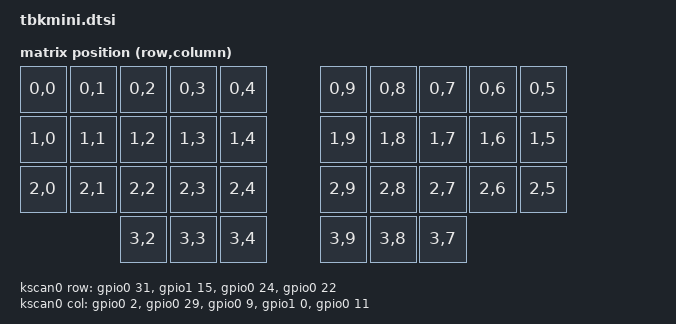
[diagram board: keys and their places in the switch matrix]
#include <dt-bindings/zmk/matrix_transform.h>

/ {
	chosen {
		zmk,kscan = &kscan0;
		zmk,matrix-transform = &default_transform;
	};

	/*
	 * Matrix wiring -- traced with a multimeter AND confirmed against the
	 * seller's source (Vzhao-L/zmk-for-charybdis, charybdis-Nano35-MOD).
	 * Both halves use the same V&Z adapter, so pins are identical.
	 *
	 *   Rows:    R1=P0.31  R2=P1.15  R3=P0.24  R4=P0.22
	 *   Columns: C1=P0.02  C2=P0.29  C3=P0.09  C4=P1.00  C5=P0.11
	 *
	 * diode-direction is row2col (confirmed from the seller's config; our
	 * original col2row guess was wrong). For row2col the rows are driven
	 * outputs and the columns are pulled-down inputs.
	 */
	kscan0: kscan {
		compatible = "zmk,kscan-gpio-matrix";
		diode-direction = "row2col";
		wakeup-source;

		row-gpios
			= <&gpio0 31 GPIO_ACTIVE_HIGH>   /* R1 P0.31 */
			, <&gpio1 15 GPIO_ACTIVE_HIGH>   /* R2 P1.15 */
			, <&gpio0 24 GPIO_ACTIVE_HIGH>   /* R3 P0.24 */
			, <&gpio0 22 GPIO_ACTIVE_HIGH>   /* R4 P0.22 */
			;

		col-gpios
			= <&gpio0 2  (GPIO_ACTIVE_HIGH | GPIO_PULL_DOWN)>   /* C1 P0.02 */
			, <&gpio0 29 (GPIO_ACTIVE_HIGH | GPIO_PULL_DOWN)>   /* C2 P0.29 */
			, <&gpio0 9  (GPIO_ACTIVE_HIGH | GPIO_PULL_DOWN)>   /* C3 P0.09 */
			, <&gpio1 0  (GPIO_ACTIVE_HIGH | GPIO_PULL_DOWN)>   /* C4 P1.00 */
			, <&gpio0 11 (GPIO_ACTIVE_HIGH | GPIO_PULL_DOWN)>   /* C5 P0.11 */
			;
	};

	/*
	 * 36-key layout: 3x5 + 3 thumbs per hand. Adopted from the seller's
	 * verified transform. Left half is columns 0-4; the right half adds
	 * col-offset = 5 (see tbkmini_right.overlay) and is laid out 9..5 so the
	 * keymap reads left-to-right like a normal board.
	 *
	 * Position numbers (keymap binding order):
	 *    0  1  2  3  4        5  6  7  8  9
	 *   10 11 12 13 14       15 16 17 18 19
	 *   20 21 22 23 24       25 26 27 28 29
	 *         30 31 32       33 34 35
	 *
	 * Thumbs:  left  30=outer 31=mid 32=inner
	 *          right 33=inner 34=mid 35=outer
	 */
	default_transform: keymap_transform_0 {
		compatible = "zmk,matrix-transform";
		columns = <10>;
		rows = <4>;
		map = <
		RC(0,0) RC(0,1) RC(0,2) RC(0,3) RC(0,4)   RC(0,9) RC(0,8) RC(0,7) RC(0,6) RC(0,5)
		RC(1,0) RC(1,1) RC(1,2) RC(1,3) RC(1,4)   RC(1,9) RC(1,8) RC(1,7) RC(1,6) RC(1,5)
		RC(2,0) RC(2,1) RC(2,2) RC(2,3) RC(2,4)   RC(2,9) RC(2,8) RC(2,7) RC(2,6) RC(2,5)
		                RC(3,2) RC(3,3) RC(3,4)   RC(3,9) RC(3,8) RC(3,7)
		>;
	};
};
